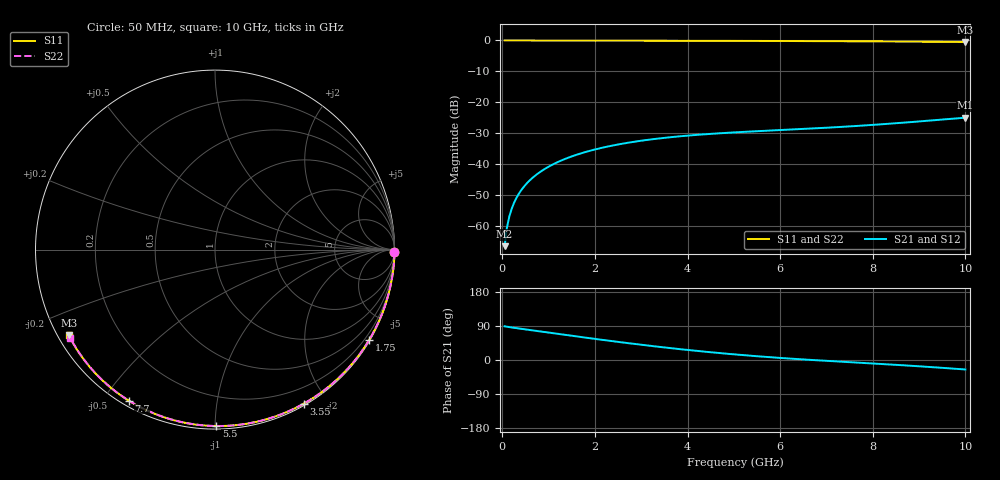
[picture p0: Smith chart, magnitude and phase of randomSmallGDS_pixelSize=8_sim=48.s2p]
! freq	dB(S11)	phase(S11)	dB(S12)	phase(S12)
!  dB(S21)	phase(S21)	dB(S22)	phase(S22)
!S-par simulation data
#  GHz  S  DB  R 50
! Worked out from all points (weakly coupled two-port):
!   200 points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, 50 MHz to 10 GHz, reference 50 ohm
!   highest |S21| = -24.96 dB at 10 GHz (marker M1); lowest = -66.5 dB at 50 MHz (marker M2)
!   lowest |S11| = -0.5 dB at 10 GHz (marker M3), VSWR 34.97, Z = 1.54 - j13.6 ohm
!   |S11| at or under -10 dB: nowhere
!   |S22| runs from -0.5 to 0.0 dB; largest |S21 - S12| = 0
!   S11 on the Smith chart (normalised r, x): 50 MHz: open; 1.75 GHz: 0.03, -3.67; 3.55 GHz: 0.02, -1.73; 5.5 GHz: 0.02, -1.01; 7.7 GHz: 0.02, -0.58; 10 GHz: 0.03, -0.27
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0.05  -0.00 -0.9  -66.50 88.9  -66.50 88.9  -0.00 -0.9
0.1  -0.00 -1.8  -60.50 87.8  -60.50 87.8  -0.00 -1.8
0.15  -0.00 -2.7  -57.00 86.8  -57.00 86.8  -0.00 -2.6
0.2  -0.00 -3.6  -54.53 85.9  -54.53 85.9  -0.00 -3.5
0.25  -0.00 -4.4  -52.61 85.0  -52.61 85.0  -0.00 -4.4
0.35  -0.00 -6.2  -49.73 83.3  -49.73 83.3  -0.00 -6.2
0.5  -0.01 -8.9  -46.68 80.7  -46.68 80.7  -0.01 -8.8
0.7  -0.01 -12.4  -43.82 77.3  -43.82 77.3  -0.01 -12.3
1  -0.02 -17.6  -40.81 72.3  -40.81 72.3  -0.02 -17.5
1.35  -0.03 -23.6  -38.33 66.4  -38.33 66.4  -0.03 -23.5
1.75  -0.04 -30.5  -36.27 59.7  -36.27 59.7  -0.04 -30.3
2.5  -0.06 -43.1  -33.62 47.8  -33.62 47.8  -0.06 -42.8
3.4  -0.08 -57.7  -31.65 34.5  -31.65 34.5  -0.08 -57.4
3.55  -0.08 -60.1  -31.40 32.5  -31.40 32.5  -0.08 -59.7
4.3  -0.10 -71.8  -30.41 22.8  -30.41 22.8  -0.10 -71.3
5.05  -0.13 -83.0  -29.69 14.4  -29.69 14.4  -0.13 -82.5
5.5  -0.15 -89.5  -29.33 9.9  -29.33 9.9  -0.15 -89.0
6.7  -0.21 -106.3  -28.46 -0.0  -28.46 -0.0  -0.21 -105.6
7.7  -0.27 -119.7  -27.60 -7.1  -27.60 -7.1  -0.27 -118.9
8.35  -0.33 -128.2  -26.93 -11.6  -26.93 -11.6  -0.32 -127.4
9.2  -0.41 -139.2  -25.94 -18.2  -25.94 -18.2  -0.41 -138.3
10  -0.50 -149.6  -24.96 -25.0  -24.96 -25.0  -0.50 -148.5
